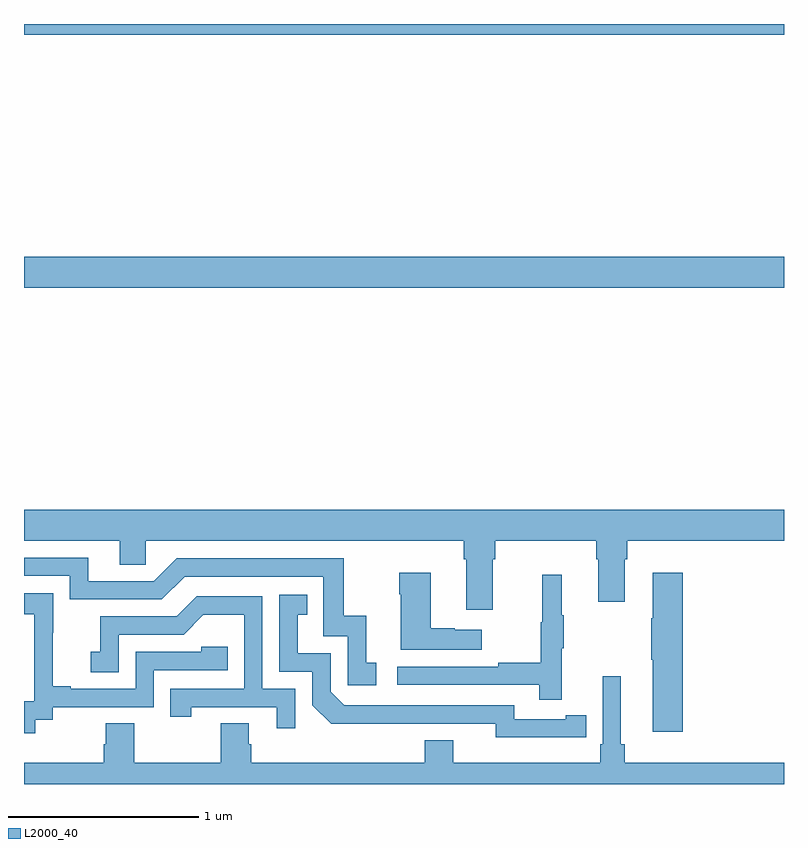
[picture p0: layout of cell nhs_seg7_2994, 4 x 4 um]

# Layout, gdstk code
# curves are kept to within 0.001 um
import gdstk
lib = gdstk.Library(unit=1e-6, precision=1e-09)
def R(c, l, rs):  # rectangles x0, y0, x1, y1
    for r in rs: c.add(gdstk.rectangle(r[:2], r[2:], *l))
def P(c, l, *ps):  # polygons
    for p in ps: c.add(gdstk.Polygon(p, *l))
L2000_40 = (2000, 40)

nhs_seg7_2994 = lib.new_cell('nhs_seg7_2994')
R(nhs_seg7_2994, L2000_40, [(303,1004.612,307,1004.776), (303,1005.944,307,1006)])
P(nhs_seg7_2994, L2000_40, [(305.467,1003.184),(305.48,1003.184),(305.48,1003.28),(306.011,1003.28),(306.011,1003.184),(306.023,1003.184),(306.023,1002.96),(306.163,1002.96),(306.163,1003.184),(306.176,1003.184),(306.176,1003.28),(307,1003.28),(307,1003.444),(303,1003.444),(303,1003.28),(303.503,1003.28),(303.503,1003.153),(303.642,1003.153),(303.642,1003.28),(305.315,1003.28),(305.315,1003.184),(305.327,1003.184),(305.327,1002.918),(305.467,1002.918)],
  [(304.855,1002.639),(304.802,1002.639),(304.802,1002.886),(304.684,1002.886),(304.684,1003.188),(303.804,1003.188),(303.684,1003.068),(303.337,1003.068),(303.337,1003.191),(303,1003.191),(303,1003.095),(303.24,1003.095),(303.24,1002.972),(303.726,1002.972),(303.846,1003.092),(304.575,1003.092),(304.575,1002.777),(304.704,1002.777),(304.704,1002.519),(304.855,1002.519)],
  [(306.467,1003.111),(306.308,1003.111),(306.308,1002.872),(306.301,1002.872),(306.301,1002.655),(306.308,1002.655),(306.308,1002.276),(306.467,1002.276)],
  [(305.41,1002.811),(305.267,1002.811),(305.267,1002.821),(305.14,1002.821),(305.14,1003.111),(304.975,1003.111),(304.975,1002.998),(304.982,1002.998),(304.982,1002.707),(305.41,1002.707)],
  [(305.831,1002.715),(305.842,1002.715),(305.842,1002.889),(305.831,1002.889),(305.831,1003.102),(305.728,1003.102),(305.728,1002.852),(305.721,1002.852),(305.721,1002.638),(305.497,1002.638),(305.497,1002.618),(304.965,1002.618),(304.965,1002.522),(305.713,1002.522),(305.713,1002.444),(305.831,1002.444)],
  [(303.058,1002.337),(303.15,1002.337),(303.15,1002.405),(303.684,1002.405),(303.684,1002.6),(304.073,1002.6),(304.073,1002.723),(303.933,1002.723),(303.933,1002.696),(303.588,1002.696),(303.588,1002.501),(303.247,1002.501),(303.247,1002.514),(303.152,1002.514),(303.152,1002.797),(303.153,1002.797),(303.153,1003.003),(303,1003.003),(303,1002.893),(303.053,1002.893),(303.053,1002.665),(303.054,1002.665),(303.054,1002.435),(303,1002.435),(303,1002.267),(303.058,1002.267)],
  [(305.852,1002.246),(305.96,1002.246),(305.96,1002.362),(305.852,1002.362),(305.852,1002.342),(305.58,1002.342),(305.58,1002.414),(304.686,1002.414),(304.614,1002.486),(304.614,1002.687),(304.441,1002.687),(304.441,1002.891),(304.49,1002.891),(304.49,1002.997),(304.344,1002.997),(304.344,1002.591),(304.518,1002.591),(304.518,1002.414),(304.616,1002.317),(305.484,1002.318),(305.484,1002.245)],
  [(304.428,1002.501),(304.254,1002.501),(304.254,1002.987),(303.908,1002.987),(303.803,1002.882),(303.4,1002.882),(303.4,1002.697),(303.351,1002.697),(303.351,1002.588),(303.498,1002.588),(303.498,1002.786),(303.84,1002.786),(303.944,1002.89),(304.158,1002.89),(304.158,1002.501),(303.769,1002.501),(303.769,1002.354),(303.88,1002.354),(303.88,1002.405),(304.331,1002.405),(304.331,1002.294),(304.428,1002.294)],
  [(307,1002.112),(306.161,1002.112),(306.161,1002.208),(306.142,1002.208),(306.142,1002.568),(306.045,1002.568),(306.045,1002.208),(306.032,1002.208),(306.032,1002.112),(305.26,1002.112),(305.26,1002.229),(305.108,1002.229),(305.108,1002.112),(304.196,1002.112),(304.196,1002.21),(304.183,1002.21),(304.183,1002.32),(304.036,1002.32),(304.036,1002.112),(303.579,1002.112),(303.579,1002.32),(303.431,1002.32),(303.431,1002.21),(303.419,1002.21),(303.419,1002.112),(303,1002.112),(303,1002),(307,1002)])

lib.write_gds('nhs_seg7_2994.gds')
